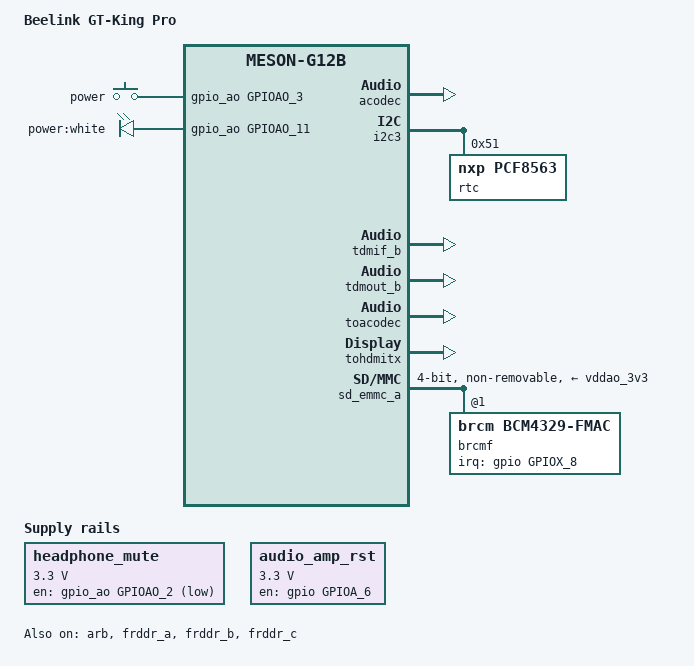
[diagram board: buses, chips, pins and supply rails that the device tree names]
// SPDX-License-Identifier: (GPL-2.0+ OR MIT)
/*
 * Copyright (c) 2019 BayLibre, SAS
 * Author: Neil Armstrong <narmstrong@baylibre.com>
 * Copyright (c) 2019 Christian Hewitt <christianshewitt@gmail.com>
 * Beelink GT-King Pro Volumio Port with Dual ESS ES9018 DAC + RT6862 OpAmps
 */

/dts-v1/;

#include "meson-g12b-w400.dtsi"
#include <dt-bindings/sound/meson-g12a-tohdmitx.h>
#include <dt-bindings/sound/meson-g12a-toacodec.h>
#include <dt-bindings/clock/axg-audio-clkc.h>
#include <dt-bindings/interrupt-controller/irq.h>

/ {
	compatible = "azw,gtking", "amlogic,s922x", "amlogic,g12b";
	model = "Beelink GT-King Pro";

	aliases {
		rtc0 = &rtc;
		rtc1 = &vrtc;
	};

	gpio-keys-polled {
		compatible = "gpio-keys-polled";
		poll-interval = <100>;

		power-button {
			label = "power";
			linux,code = <KEY_POWER>;
			gpios = <&gpio_ao GPIOAO_3 GPIO_ACTIVE_HIGH>;
		};
	};

	leds {
		compatible = "gpio-leds";

		led-white {
			label = "power:white";
			gpios = <&gpio_ao GPIOAO_11 GPIO_ACTIVE_HIGH>;
			default-state = "on";
		};
	};

	/* Headphone mute transistor: un-mutes 3.5mm analog circuit when LOW */
	headphone_mute: headphone-mute {
		compatible = "regulator-fixed";
		regulator-name = "headphone_mute";
		regulator-min-microvolt = <3300000>;
		regulator-max-microvolt = <3300000>;
		gpio = <&gpio_ao GPIOAO_2 GPIO_ACTIVE_LOW>;
		regulator-always-on;
	};

	/* Audio amp power / reset enable (GPIOA_6) */
	audio_amp_rst: audio-amp-rst {
		compatible = "regulator-fixed";
		regulator-name = "audio_amp_rst";
		regulator-min-microvolt = <3300000>;
		regulator-max-microvolt = <3300000>;
		gpio = <&gpio GPIOA_6 GPIO_ACTIVE_HIGH>;
		enable-active-high;
		regulator-always-on;
	};

	sound {
		compatible = "amlogic,axg-sound-card";
		model = "GTKING-PRO";
		audio-aux-devs = <&tdmout_b>;
		audio-routing = "TDMOUT_B IN 0", "FRDDR_A OUT 1",
				"TDMOUT_B IN 1", "FRDDR_B OUT 1",
				"TDMOUT_B IN 2", "FRDDR_C OUT 1",
				"TDM_B Playback", "TDMOUT_B OUT";

		clocks = <&clkc CLKID_MPLL2>,
			 <&clkc CLKID_MPLL0>,
			 <&clkc CLKID_MPLL1>;

		assigned-clocks = <&clkc CLKID_MPLL2>,
				  <&clkc CLKID_MPLL0>,
				  <&clkc CLKID_MPLL1>;
		assigned-clock-parents = <0>, <0>, <0>;
		assigned-clock-rates = <294912000>,
				       <270950400>,
				       <393216000>;

		dai-link-0 {
			sound-dai = <&frddr_a>;
		};

		dai-link-1 {
			sound-dai = <&frddr_b>;
		};

		dai-link-2 {
			sound-dai = <&frddr_c>;
		};

		/* Stereo I2S to ESS ES9018 DAC + RT6862 OpAmps and HDMI/ACODEC */
		dai-link-3 {
			sound-dai = <&tdmif_b>;
			dai-format = "i2s";
			dai-tdm-slot-tx-mask-0 = <1 1>;
			mclk-fs = <256>;

			codec-0 {
				sound-dai = <&tohdmitx TOHDMITX_I2S_IN_B>;
			};

			codec-1 {
				sound-dai = <&toacodec TOACODEC_IN_B>;
			};
		};

		dai-link-4 {
			sound-dai = <&tohdmitx TOHDMITX_I2S_OUT>;

			codec {
				sound-dai = <&hdmi_tx>;
			};
		};

		dai-link-5 {
			sound-dai = <&toacodec TOACODEC_OUT>;

			codec {
				sound-dai = <&acodec>;
			};
		};
	};
};

&acodec {
	AVDD-supply = <&vcc_1v8>;
	status = "okay";
};

&arb {
	status = "okay";
};

&clkc_audio {
	status = "okay";
};

&frddr_a {
	status = "okay";
};

&frddr_b {
	status = "okay";
};

&frddr_c {
	status = "okay";
};

&i2c3 {
	status = "okay";
	pinctrl-0 = <&i2c3_sda_a_pins>, <&i2c3_sck_a_pins>;
	pinctrl-names = "default";

	rtc: rtc@51 {
		compatible = "nxp,pcf8563";
		reg = <0x51>;
		wakeup-source;
	};
};

&tdmif_b {
	pinctrl-0 = <&mclk0_a_pins>, <&tdm_b_sclk_pins>, <&tdm_b_fs_pins>, <&tdm_b_dout0_pins>;
	pinctrl-names = "default";
	assigned-clocks = <&clkc_audio AUD_CLKID_TDM_MCLK_PAD0>,
			  <&clkc_audio AUD_CLKID_TDM_SCLK_PAD1>,
			  <&clkc_audio AUD_CLKID_TDM_LRCLK_PAD1>;
	assigned-clock-parents = <&clkc_audio AUD_CLKID_MST_B_MCLK>,
				 <&clkc_audio AUD_CLKID_MST_B_SCLK>,
				 <&clkc_audio AUD_CLKID_MST_B_LRCLK>;
	assigned-clock-rates = <0>, <0>, <0>;
	status = "okay";
};

&tdmout_b {
	status = "okay";
};

&toacodec {
	status = "okay";
};

&tohdmitx {
	status = "okay";
};

&sdio_pins {
	mux {
		groups = "sdio_d0",
			 "sdio_d1",
			 "sdio_d2",
			 "sdio_d3",
			 "sdio_clk",
			 "sdio_cmd";
		function = "sdio";
		bias-pull-up;
		drive-strength-microamp = <4000>;
	};
};

&sdio_pwrseq {
	reset-gpios = <&gpio GPIOX_6 GPIO_ACTIVE_LOW>,
		      <&gpio GPIOX_7 GPIO_ACTIVE_LOW>;
	power-off-delay-us = <10000>;
	post-power-on-delay-ms = <200>;
};

&sd_emmc_a {
	status = "okay";
	pinctrl-0 = <&sdio_pins>;
	pinctrl-1 = <&sdio_clk_gate_pins>;
	pinctrl-names = "default", "clk-gate";

	bus-width = <4>;
	cap-sd-highspeed;
	sd-uhs-sdr12;
	sd-uhs-sdr25;
	sd-uhs-sdr50;
	sd-uhs-sdr104;
	max-frequency = <100000000>;

	non-removable;
	disable-wp;

	mmc-pwrseq = <&sdio_pwrseq>;

	vmmc-supply = <&vddao_3v3>;
	vqmmc-supply = <&vddao_1v8>;

	brcmf: wifi@1 {
		reg = <1>;
		compatible = "brcm,bcm4329-fmac";
		interrupt-parent = <&gpio>;
		interrupts = <GPIOX_8 IRQ_TYPE_LEVEL_LOW>;
		interrupt-names = "host-wake";
	};
};


